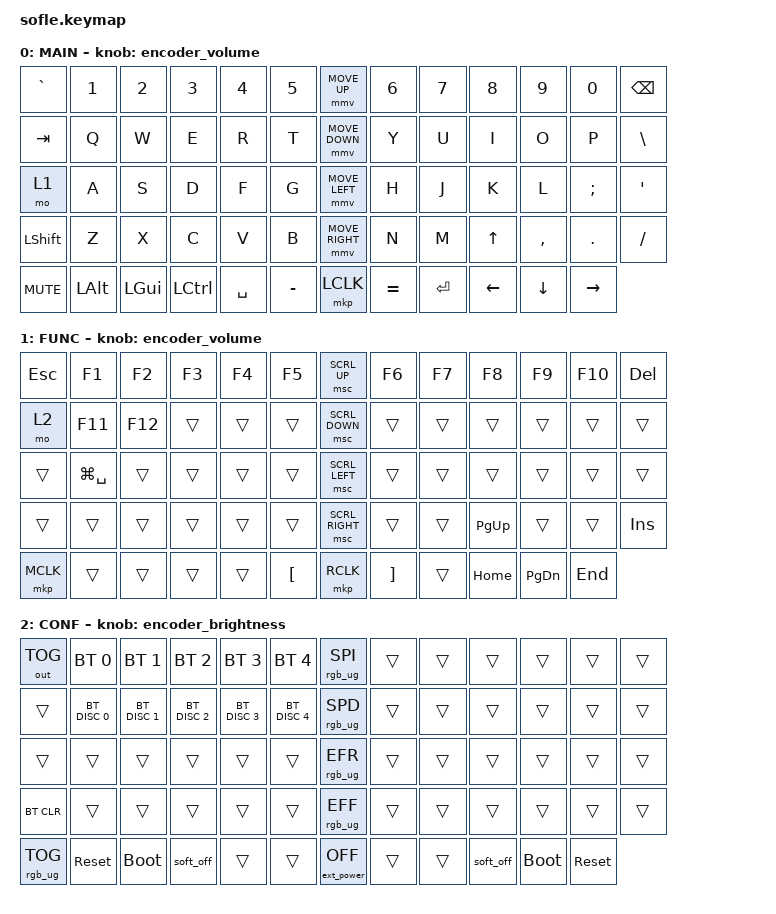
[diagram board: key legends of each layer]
#include <dt-bindings/zmk/mouse.h>
#include <input/processors.dtsi>
#include <behaviors.dtsi>
#include <dt-bindings/zmk/bt.h>
#include <dt-bindings/zmk/ext_power.h>
#include <dt-bindings/zmk/keys.h>
#include <dt-bindings/zmk/outputs.h>
#include <dt-bindings/zmk/pointing.h>
#include <dt-bindings/zmk/pointing.h>
#include <dt-bindings/zmk/pointing.h>
#include <dt-bindings/zmk/rgb.h>

/*

   &mmv_input_listener {
       input-processors = <&zip_xy_scaler 2 1>;
   };

   &msc_input_listener {
       input-processors = <&zip_xy_scaler 2 1>;
   };

 */

#define ZMK_MOUSE_DEFAULT_MOVE_VAL 1200  // 600
#define ZMK_MOUSE_DEFAULT_SCRL_VAL 20    // 10

/ {
    behaviors {
        mmv {
            acceleration-exponent = <1>;      // 1
            time-to-max-speed-ms = <900>;    // 40
            delay-ms = <0>;                   // 0
        };

        msc {
            acceleration-exponent = <1>;      // 0
            time-to-max-speed-ms = <400>;      // 500
            delay-ms = <0>;                   //   10
        };
    };

    encoder_brightness: encoder_brightness {
        compatible = "zmk,behavior-sensor-rotate";
        label = "ENCODER_BRIGHTNESS";
        #sensor-binding-cells = <0>;
        bindings = <&rgb_ug RGB_BRI>, <&rgb_ug RGB_BRD>;
    };

    encoder_volume: encoder_volume {
        compatible = "zmk,behavior-sensor-rotate";
        label = "ENCODER_VOLUME";
        #sensor-binding-cells = <0>;
        bindings = <&kp C_VOLUME_UP>, <&kp C_VOLUME_DOWN>;
    };

    keymap {
        compatible = "zmk,keymap";

        default {
            bindings = <
&kp GRAVE   &kp N1        &kp N2        &kp N3     &kp N4     &kp N5       &mmv MOVE_UP     &kp N6     &kp N7     &kp N8          &kp N9          &kp N0           &kp BACKSPACE
&kp TAB     &kp Q         &kp W         &kp E      &kp R      &kp T        &mmv MOVE_DOWN   &kp Y      &kp U      &kp I           &kp O           &kp P            &kp BSLH
&mo 1       &kp A         &kp S         &kp D      &kp F      &kp G        &mmv MOVE_LEFT   &kp H      &kp J      &kp K           &kp L           &kp SEMI         &kp SQT
&kp LSHFT   &kp Z         &kp X         &kp C      &kp V      &kp B        &mmv MOVE_RIGHT  &kp N      &kp M      &kp UP_ARROW    &kp COMMA       &kp PERIOD       &kp SLASH
&kp C_MUTE  &kp LEFT_ALT  &kp LEFT_GUI  &kp LCTRL  &kp SPACE  &kp MINUS    &mkp LCLK        &kp EQUAL  &kp ENTER  &kp LEFT_ARROW  &kp DOWN_ARROW  &kp RIGHT_ARROW
            >;

            sensor-bindings = <&encoder_volume>;
            display-name = "MAIN";
        };

        function {
            bindings = <
&kp ESCAPE  &kp F1         &kp F2   &kp F3  &kp F4  &kp F5              &msc SCRL_UP     &kp F6             &kp F7  &kp F8       &kp F9         &kp F10  &kp DELETE
&mo 2       &kp F11        &kp F12  &trans  &trans  &trans              &msc SCRL_DOWN   &trans             &trans  &trans       &trans         &trans   &trans
&trans      &kp LG(SPACE)  &trans   &trans  &trans  &trans              &msc SCRL_LEFT   &trans             &trans  &trans       &trans         &trans   &trans
&trans      &trans         &trans   &trans  &trans  &trans              &msc SCRL_RIGHT  &trans             &trans  &kp PAGE_UP  &trans         &trans   &kp INSERT
&mkp MCLK   &trans         &trans   &trans  &trans  &kp LEFT_BRACKET    &mkp RCLK        &kp RIGHT_BRACKET  &trans  &kp HOME     &kp PAGE_DOWN  &kp END
            >;

            display-name = "FUNC";
            sensor-bindings = <&encoder_volume>;
        };

        settings {
            bindings = <
&out OUT_TOG     &bt BT_SEL 0   &bt BT_SEL 1   &bt BT_SEL 2   &bt BT_SEL 3   &bt BT_SEL 4     &rgb_ug RGB_SPI    &trans  &trans  &trans     &trans       &trans      &trans
&trans           &bt BT_DISC 0  &bt BT_DISC 1  &bt BT_DISC 2  &bt BT_DISC 3  &bt BT_DISC 4    &rgb_ug RGB_SPD    &trans  &trans  &trans     &trans       &trans      &trans
&trans           &trans         &trans         &trans         &trans         &trans           &rgb_ug RGB_EFR    &trans  &trans  &trans     &trans       &trans      &trans
&bt BT_CLR       &trans         &trans         &trans         &trans         &trans           &rgb_ug RGB_EFF    &trans  &trans  &trans     &trans       &trans      &trans
&rgb_ug RGB_TOG  &sys_reset     &bootloader    &soft_off      &trans         &trans           &ext_power EP_OFF  &trans  &trans  &soft_off  &bootloader  &sys_reset
            >;

            sensor-bindings = <&encoder_brightness>;
            label = "CONF";
        };
    };
};
